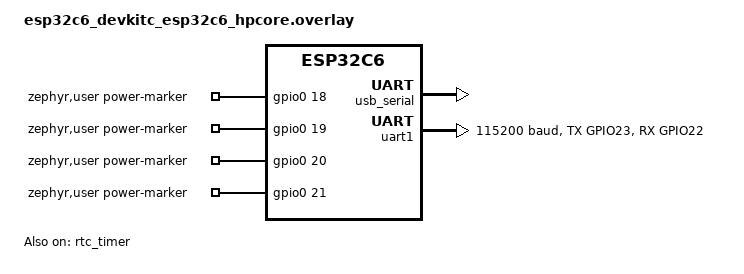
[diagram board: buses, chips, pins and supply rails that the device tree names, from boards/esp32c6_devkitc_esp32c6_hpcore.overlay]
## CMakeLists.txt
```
cmake_minimum_required(VERSION 3.20.0)

find_package(Zephyr REQUIRED HINTS $ENV{ZEPHYR_BASE})
project(zephyr_CellCom_app)

target_sources(app PRIVATE
    src/alarm.c
    src/at_parser.c
    src/bdseq_store.c
    src/client_id.c
    src/main.c
    src/modem.c
    src/mqtt_client.c
    src/power_marker.c
    src/power_mgmt.c
    src/pm_soc_log.c
    src/modbus_client.c
    src/sparkplug.c
    src/time_sync.c
    src/wake_cycle.c
    src/wifi_network.c
)

# Sparkplug B payload: generate C structs from the .proto with nanopb.
# proto/sparkplug_b.options next to it limits array/string sizes.
# The generated header is included as "proto/sparkplug_b.pb.h".
list(APPEND CMAKE_MODULE_PATH ${ZEPHYR_BASE}/modules/nanopb)
include(nanopb)
zephyr_nanopb_sources(app proto/sparkplug_b.proto)
```

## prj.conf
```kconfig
CONFIG_NETWORKING=y
CONFIG_WIFI=y
CONFIG_NET_LOG=y
CONFIG_LOG=y
CONFIG_PRINTK=y
CONFIG_ESPTOOLPY_FLASHSIZE_4MB=y

CONFIG_NET_TCP=y
CONFIG_NET_IPV4=y
CONFIG_NET_DHCPV4=y
# DHCP waits a random 1..N s before its first request (RFC 2131). With the
# default N = 10 every deep sleep wake spent 4-10 s waiting for Wi-Fi; 2 is
# the lowest Zephyr allows.
CONFIG_NET_DHCPV4_INITIAL_DELAY_MAX=2

# Sockets: Modbus TCP to the SimPLC
CONFIG_NET_SOCKETS=y
CONFIG_POLL=y

CONFIG_ENTROPY_GENERATOR=y

# Sparkplug bdSeq kept in flash across reboots (bdseq_store.c, IEC 62443
# CR 3.8). Settings stores named values; NVS is the flash backend. It uses
# the "storage" partition from the espressif-flash-4M layout.
CONFIG_FLASH=y
CONFIG_FLASH_MAP=y
CONFIG_NVS=y
CONFIG_SETTINGS=y
CONFIG_SETTINGS_NVS=y

# Unique client ID from the chip's eFuse MAC (client_id.c, CR 3.8)
CONFIG_HWINFO=y

CONFIG_MODBUS=y
CONFIG_MODBUS_ROLE_CLIENT=y
CONFIG_MODBUS_RAW_ADU=y
CONFIG_MODBUS_NUMOF_RAW_ADU=1
# Sparkplug B payloads (protobuf, via nanopb module)
CONFIG_NANOPB=y

# UDP for DHCP on the Wi-Fi to the SimPLC. UTC comes from the modem (NTP/NITZ);
# Zephyr's MQTT client, SNTP and DNS are only for the Wi-Fi uplink test build:
# -DEXTRA_CONF_FILE=wifi_uplink.conf (see that file)
CONFIG_NET_UDP=y

# SIM7080G cellular modem on UART1 (AT commands, see modem.c / at_parser.c)
CONFIG_SERIAL=y
CONFIG_UART_INTERRUPT_DRIVEN=y
CONFIG_RING_BUFFER=y

# Light sleep between work (power_mgmt.c, APP_LIGHT_SLEEP). The RTC timer
# (enabled in the board overlay) wakes the chip.
CONFIG_PM=y
CONFIG_PM_DEVICE=y
CONFIG_COUNTER=y
# Deep sleep design (APP_DEEP_SLEEP, wake_cycle.c): sys_poweroff() with a
# timer wakeup
CONFIG_POWEROFF=y

# Main thread does the sampling loop, or the deep sleep wake cycle. Modbus
# runs in the calling thread and its raw transport keeps two ~260 B frames on
# the stack (modbus_client.c raw_tx_cb): 2048 overflowed in wake_cycle_run()
# and corrupted the heap ("Illegal instruction" in sys_heap_alloc).
CONFIG_MAIN_STACK_SIZE=4096
```

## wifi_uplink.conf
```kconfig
# Test build only: MQTT over Wi-Fi with Zephyr's own client instead of the
# SIM7080G (no TLS, so it also needs -DAPP_ALLOW_INSECURE). Use with
#   west build ... -- -DEXTRA_CONF_FILE=wifi_uplink.conf
#     "-DEXTRA_CFLAGS=-DAPP_UPLINK_CELLULAR=0 -DAPP_ALLOW_INSECURE"
CONFIG_MQTT_LIB=y
# UTC over Wi-Fi (the modem does this on the cellular uplink)
CONFIG_SNTP=y
CONFIG_DNS_RESOLVER=y
```

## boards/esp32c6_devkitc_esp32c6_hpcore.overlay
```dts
#include <zephyr/dt-bindings/pinctrl/esp32c6-pinctrl.h>
#include <zephyr/dt-bindings/gpio/gpio.h>

/ {
    chosen {
        zephyr,console = &usb_serial;
        zephyr,shell-uart = &usb_serial;
    };

    /* Phase markers for PPK2 current measurements (power_marker.h).
     * Only driven when APP_POWER_MARKERS = 1. PPK2 logic port D0-D3. */
    zephyr,user {
        power-marker-gpios = <&gpio0 18 GPIO_ACTIVE_HIGH>,
                             <&gpio0 19 GPIO_ACTIVE_HIGH>,
                             <&gpio0 20 GPIO_ACTIVE_HIGH>,
                             <&gpio0 21 GPIO_ACTIVE_HIGH>;
    };
};

&usb_serial {
    status = "okay";
};

/* RTC timer wakes the chip from light sleep (power_mgmt.c) */
&rtc_timer {
    status = "okay";
    wakeup-source;
};

/* Turned off: on in the board's default devicetree, but not used by this
 * application. Their drivers are not started, which keeps boot (every deep
 * sleep wake is a boot) short and avoids powering blocks we don't need.
 *   coretemp     chip temperature sensor (was enabled here, never read)
 *   uart0        the console is on usb_serial; the modem is on uart1
 *   i2c0, spi2   no I2C/SPI devices on the Edge
 *   esp32_bt_hci, ieee802154   no Bluetooth or Thread/Zigbee radio
 *   mbox0        mailbox to the LP core, which is not used (see report)
 */
&coretemp {
    status = "disabled";
};

&uart0 {
    status = "disabled";
};

&i2c0 {
    status = "disabled";
};

&spi2 {
    status = "disabled";
};

&esp32_bt_hci {
    status = "disabled";
};

&ieee802154 {
    status = "disabled";
};

&mbox0 {
    status = "disabled";
};

/* SIM7080G (M5Stamp CatM) cellular modem: ESP TX = GPIO23, RX = GPIO22 */
&pinctrl {
    uart1_modem: uart1_modem {
        group1 {
            pinmux = <UART1_TX_GPIO23>;
            output-high;
        };
        group2 {
            pinmux = <UART1_RX_GPIO22>;
            bias-pull-up;
        };
    };
};

&uart1 {
    status = "okay";
    current-speed = <115200>;
    pinctrl-0 = <&uart1_modem>;
    pinctrl-names = "default";
};
```

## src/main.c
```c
#include <zephyr/kernel.h>
#include <zephyr/logging/log.h>

#include "app_config.h"
#include "client_id.h"
#include "wifi_network.h"
#include "mqtt_client.h"
#include "time_sync.h"
#include "modbus_client.h"
#include "power_marker.h"
#include "power_mgmt.h"
#include "wake_cycle.h"

LOG_MODULE_REGISTER(app, LOG_LEVEL_INF);

/* A Modbus reading older than this is treated as missing (2 polls + slack) */
#define PLC_MAX_AGE_MS (2 * MODBUS_POLL_INTERVAL_MS + 1000)

BUILD_ASSERT(MODBUS_NUM_SENSORS == SP_NUM_SENSORS,
	     "Modbus register map and Sparkplug metrics must have the same sensors");

#ifdef APP_FAKE_PLC_DATA
/* Test mode: made-up PLC values, so the whole chain (Sparkplug -> broker ->
 * QuestDB) can be tested without the SimPLC. Every 6th sample flags the
 * bottom sensor as failed, to exercise the null values. */
static int fake_plc_sample(struct sparkplug_sample *s)
{
	static uint32_t n;

	n++;
	for (int i = 0; i < SP_NUM_SENSORS; i++) {
		s->temperature_c[i] = 20.0f + 2.0f * i + (float)(n % 5);
		s->humidity_pct[i] = 40.0f + 5.0f * i + (float)(n % 3);
	}
	s->plc_status = (n % 6 == 0) ? 0x4 : 0;
	s->plc_ok = true;
	return 0;
}
#endif

/* Fills s from the latest SimPLC reading. Sets s->plc_ok = false (all values
 * become null in Sparkplug) when there is no fresh reading or the PLC's
 * heartbeat has stopped, i.e. its scan cycle hangs and the values are old. */
static void plc_sample(struct sparkplug_sample *s)
{
#ifdef APP_FAKE_PLC_DATA
	fake_plc_sample(s);
#else
	static uint16_t last_heartbeat;
	static bool have_last;
	struct modbus_readings r;

	s->plc_ok = false;
#if APP_WIFI_ON_DEMAND
	/* Wi-Fi only for this read: connect, read once, disconnect. The ESP
	 * can light-sleep again as soon as network_down() is called. */
	int64_t t_up = k_uptime_get();
	int rc = network_up(APP_WIFI_CONNECT_TIMEOUT_S);
	int64_t t_read = k_uptime_get();

	if (rc == 0) {
		rc = modbus_client_read_now(&r);
	}
	network_down();
	/* How long Wi-Fi was needed for this sample: decides whether on-demand
	 * Wi-Fi pays off at short sample intervals. */
	LOG_INF("Wi-Fi up in %lld ms, read %lld ms (rc %d)", (long long)(t_read - t_up),
		(long long)(k_uptime_get() - t_read), rc);
	if (rc != 0) {
		LOG_WRN("no Modbus data from SimPLC (%d)", rc);
		return;
	}
#else
	if (modbus_client_get_readings(&r) != 0) {
		LOG_WRN("no Modbus data from SimPLC");
		return;
	}
#endif
	if (k_uptime_get() - r.timestamp_ms > PLC_MAX_AGE_MS) {
		LOG_WRN("Modbus data is %lld ms old", (long long)(k_uptime_get() - r.timestamp_ms));
		return;
	}
	if (r.heartbeat == 0 || (have_last && r.heartbeat == last_heartbeat)) {
		LOG_WRN("SimPLC heartbeat not running (%u)", r.heartbeat);
		last_heartbeat = r.heartbeat;
		have_last = true;
		return;
	}
	last_heartbeat = r.heartbeat;
	have_last = true;

	for (int i = 0; i < SP_NUM_SENSORS; i++) {
		s->temperature_c[i] = r.temp_x10[i] / 10.0f;
		s->humidity_pct[i] = r.hum_x10[i] / 10.0f;
	}
	s->plc_status = r.status;
	s->plc_ok = true;
	/* Stamp with the time the PLC values were read, not when we sampled */
	s->timestamp_ms = (uint64_t)r.timestamp_ms;

	LOG_INF("PLC x10 temp %d %d %d, hum %d %d %d, status 0x%x",
		r.temp_x10[0], r.temp_x10[1], r.temp_x10[2],
		r.hum_x10[0], r.hum_x10[1], r.hum_x10[2], r.status);
#endif
}

int main(void)
{
	LOG_INF("Zephyr app started");
	LOG_INF("sample every %d s, publish every %d s, light sleep %d, Wi-Fi on demand %d, "
		"modem radio off %d", APP_SAMPLE_INTERVAL_S, APP_PUBLISH_INTERVAL_S,
		APP_LIGHT_SLEEP, APP_WIFI_ON_DEMAND, APP_MODEM_RADIO_OFF);
	power_mgmt_init();
	power_marker_init();

	/* IEC 62443 CR 3.8: without a unique ID the node must not connect, so
	 * we stop here instead of using a shared fallback ID. Light sleep is
	 * released so a broken node doesn't drain the battery while awake. */
	int ret = build_client_id_initialize();

	if (ret) {
		LOG_ERR("No unique client ID (MAC unreadable: %d), not starting", ret);
		power_boot_done();
		return ret;
	}
	LOG_INF("client id: %s", build_client_id_get());

	/* Wi-Fi: the local network to the SimPLC (Modbus TCP), and the uplink
	 * when APP_UPLINK_CELLULAR = 0. APP_DISABLE_WIFI (test only, with
	 * APP_FAKE_PLC_DATA) keeps the Wi-Fi radio off. */
#ifdef APP_DISABLE_WIFI
	LOG_WRN("APP_DISABLE_WIFI: Wi-Fi radio not started");
#else
	if (network_initialize() != 0) {
		LOG_ERR("network init failed");
	}
#endif

#if !APP_UPLINK_CELLULAR
	/* Real UTC timestamps for Sparkplug. If this fails, the MQTT thread
	 * retries before each session. With the cellular uplink the MQTT thread
	 * gets the time from the modem once the data connection is up. */
	time_sync_initialize();
#endif

	mqtt_client_initialize();

#ifdef APP_FAKE_PLC_DATA
	LOG_WRN("APP_FAKE_PLC_DATA: sending made-up PLC values, not the SimPLC's");
#else
	if (modbus_client_initialize() != 0) {
		LOG_ERR("modbus init failed");
	}
#endif

#if APP_DEEP_SLEEP
	/* Deep sleep design: the SimPLC samples, we wake up, check alarms,
	 * maybe send, and sleep again. Does not return. */
	wake_cycle_run();
#endif

	/* Application thread: sample on a fixed interval and queue the result.
	 * The MQTT thread batches and publishes, so a slow or broken network
	 * never shifts the sampling interval. */
	int64_t next = k_uptime_get();
	bool first = true;

	while (1) {
		/* Stamped with uptime (replaced by the PLC read time when there is
		 * fresh data); converted to UTC when it is sent */
		struct sparkplug_sample s = { .timestamp_ms = (uint64_t)k_uptime_get() };

		power_marker_set(PM_MARK_SAMPLE, true);
		plc_sample(&s);
		/* Queued even without PLC data: the nulls show the gap in QuestDB */
		mqtt_client_queue_sample(&s);
		power_marker_set(PM_MARK_SAMPLE, false);
		if (first) {
			/* boot done: light sleep allowed from now on */
			power_boot_done();
			first = false;
		}

		next += APP_SAMPLE_INTERVAL_S * MSEC_PER_SEC;
		k_sleep(K_TIMEOUT_ABS_MS(next));
	}

	return 0;
}
```

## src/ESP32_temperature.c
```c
#include <zephyr/kernel.h>
#include <zephyr/device.h>
#include <zephyr/drivers/sensor.h>
#include <zephyr/logging/log.h>

#include "ESP32_temperature.h"

LOG_MODULE_REGISTER(temperature, LOG_LEVEL_INF);

static const struct device *const temperature_sensor =
	DEVICE_DT_GET(DT_ALIAS(die_temp0));

int ESP32_temperature_initialize(void)
{
	if (!device_is_ready(temperature_sensor)) {
		LOG_ERR("Internal temperature sensor is not ready");
		return -ENODEV;
	}
	return 0;
}

int ESP32_temperature_read(float *celsius)
{
	struct sensor_value temperature;
	int ret;

	ret = sensor_sample_fetch(temperature_sensor);
	if (ret == 0) {
		ret = sensor_channel_get(temperature_sensor, SENSOR_CHAN_DIE_TEMP,
					 &temperature);
	}
	if (ret) {
		LOG_ERR("Failed to read internal temperature: %d", ret);
		return ret;
	}

	*celsius = (float)sensor_value_to_double(&temperature);
	return 0;
}
```

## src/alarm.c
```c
/* alarm.c - see alarm.h */
#include "alarm.h"
#include "app_config.h"
#include "modbus_settings.h"

#include <stdbool.h>

/* Hysteresis: once on, an alarm needs the value back inside the limit by
 * `hyst` before it turns off. */
static bool temp_alarm(int16_t t, bool was_on)
{
	if (was_on) {
		return t > APP_ALARM_TEMP_HIGH_X10 - APP_ALARM_TEMP_HYST_X10 ||
		       t < APP_ALARM_TEMP_LOW_X10 + APP_ALARM_TEMP_HYST_X10;
	}
	return t > APP_ALARM_TEMP_HIGH_X10 || t < APP_ALARM_TEMP_LOW_X10;
}

static bool hum_alarm(int16_t h, bool was_on)
{
	if (was_on) {
		return h > APP_ALARM_HUM_HIGH_X10 - APP_ALARM_HUM_HYST_X10;
	}
	return h >= APP_ALARM_HUM_HIGH_X10;
}

uint16_t alarm_evaluate(const struct modbus_readings *r, uint16_t current)
{
	uint16_t out = current;

	for (int i = 0; i < MODBUS_NUM_SENSORS; i++) {
		if (r->status & (1U << i)) {
			continue; /* read error: keep the state, the value is stale */
		}
		uint16_t tbit = 1U << (MODBUS_COIL_TEMP_BASE + i);
		uint16_t hbit = 1U << (MODBUS_COIL_HUM_BASE + i);

		out = temp_alarm(r->temp_x10[i], current & tbit) ? (out | tbit) : (out & ~tbit);
		out = hum_alarm(r->hum_x10[i], current & hbit) ? (out | hbit) : (out & ~hbit);
	}
	return out;
}
```

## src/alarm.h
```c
/* alarm.h - alarm decisions for the SimPLC's coils.
 *
 * The Edge decides, the SimPLC acts: the result is a bitmask of the SimPLC's
 * coils (MODBUS_COIL_TEMP_BASE + i, MODBUS_COIL_HUM_BASE + i), which drive
 * its buzzer and lamp. Limits and hysteresis are in app_config.h.
 */
#pragma once

#include <stdint.h>
#include "modbus_client.h"

/* New coil mask from a reading and the current coils (needed for the
 * hysteresis). A sensor with a read error (status bit set) keeps its
 * current alarm state: an old value must neither raise nor clear an alarm. */
uint16_t alarm_evaluate(const struct modbus_readings *r, uint16_t current);
```

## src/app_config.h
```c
/* app_config.h - tunables for sampling, batching and Sparkplug naming.
 *
 * Everything that changes the data/power trade-off lives here, so it can be
 * tuned in one place (and argued for in the report).
 */
#pragma once

/* Sparkplug B group id: first level after "spBv1.0/" in every topic.
 * Keep it short - it is sent in every single topic string. */
#ifndef SPARKPLUG_GROUP_ID
#define SPARKPLUG_GROUP_ID "GRP1"
#endif

/* How often the sensor is read (kravspec Projekt A: 5-15 s). Can be set at
 * build time, e.g. -DAPP_SAMPLE_INTERVAL_S=600 for one sample per 10 min. */
#ifndef APP_SAMPLE_INTERVAL_S
#define APP_SAMPLE_INTERVAL_S   10
#endif

/* How often the node connects and sends everything it has collected
 * (option A: connect -> NBIRTH -> NDATA... -> NDEATH -> disconnect).
 * 3600 = hourly. Use something like 60 while developing. */
#ifndef APP_PUBLISH_INTERVAL_S
#define APP_PUBLISH_INTERVAL_S  3600
#endif

/* After a failed session (no network, broker down) try again this soon. */
#ifndef APP_RETRY_INTERVAL_S
#define APP_RETRY_INTERVAL_S    300
#endif

/* Samples per NDATA message follow from the metric limit and the uplink's
 * message size (see SPARKPLUG_MAX_SAMPLES_PER_NDATA and mqtt_client.c).
 * One hour at 10 s = 360 samples of 7 metrics each: over cellular that is
 * ~52 messages of ~0.9 kB per session. */

/* Samples kept in RAM (40 B each, ~29 kB for 720). Two publish intervals, so
 * one failed session loses nothing. When full, the oldest sample is dropped. */
#define APP_SAMPLE_QUEUE_LEN    (2 * APP_PUBLISH_INTERVAL_S / APP_SAMPLE_INTERVAL_S)

/* Uplink to the broker: 1 = SIM7080G cellular modem (LTE-M) on UART1,
 * 0 = Wi-Fi with Zephyr's own MQTT client. Wi-Fi is started either way,
 * because Modbus TCP to the SimPLC runs over the local Wi-Fi.
 * Override with -DEXTRA_CFLAGS="-DAPP_UPLINK_CELLULAR=0 -DAPP_ALLOW_INSECURE"
 * (test only: the Wi-Fi uplink has no TLS). */
#ifndef APP_UPLINK_CELLULAR
#define APP_UPLINK_CELLULAR     1
#endif
#define APP_MODEM_APN           "onomondo"
/* How long to wait for LTE registration in a session before giving up. */
#define APP_MODEM_ATTACH_MS     120000

/* MQTT over TLS (issue #22). Cellular uplink only: TLS runs inside the
 * modem. The broker's TLS listener is on APP_MQTT_TLS_PORT; the CA its
 * certificate is checked against lives in mqtt_ca_cert.h.
 * Override with -DEXTRA_CFLAGS="-DAPP_MQTT_TLS=0 -DAPP_ALLOW_INSECURE" for
 * plain MQTT on 1883 (test only). */
#ifndef APP_MQTT_TLS
#define APP_MQTT_TLS            1
#endif
#define APP_MQTT_TLS_PORT       8883

/* IEC 62443 CR 3.1/3.8: never send without a verified server. Plain MQTT
 * (APP_MQTT_TLS = 0) and the Wi-Fi uplink (no TLS at all) are test builds
 * only, so they must be asked for on purpose with -DAPP_ALLOW_INSECURE.
 * Without the CA in mqtt_ca_cert.h the modem refuses to connect
 * (modem.c, tls_configure()). */
#if (!APP_MQTT_TLS || !APP_UPLINK_CELLULAR) && !defined(APP_ALLOW_INSECURE)
#error "Uplink without verified TLS: build with -DAPP_ALLOW_INSECURE (test only)"
#endif

/* ---- Alarms (alarm.c) ----
 * Evaluated by the Edge on every SimPLC reading; the result is written to
 * the SimPLC's coils (buzzer/lamp there). No limits in the kravspec: these
 * were chosen by the group. Values x10, like the Modbus registers. An alarm
 * turns off again only HYST below/above the limit, so a value right at the
 * limit doesn't make it flicker (the DHT11 only reads whole degrees/%).
 * The SimPLC has one temperature coil per position: it means "temperature
 * out of range" (too hot or too cold). */
#ifndef APP_ALARM_TEMP_HIGH_X10
#define APP_ALARM_TEMP_HIGH_X10   400   /* alarm above 40.0 C */
#endif
#ifndef APP_ALARM_TEMP_LOW_X10
#define APP_ALARM_TEMP_LOW_X10    100   /* alarm below 10.0 C */
#endif
#ifndef APP_ALARM_TEMP_HYST_X10
#define APP_ALARM_TEMP_HYST_X10   10    /* 1.0 C */
#endif
#ifndef APP_ALARM_HUM_HIGH_X10
#define APP_ALARM_HUM_HIGH_X10    800   /* alarm at 80.0 % or more */
#endif
#ifndef APP_ALARM_HUM_HYST_X10
#define APP_ALARM_HUM_HYST_X10    30    /* 3.0 % */
#endif

/* ---- Deep sleep design (wake_cycle.c, PO feedback) ----
 * 1 = the SimPLC samples every 10 s into its buffer; the Edge is in deep
 * sleep and wakes every APP_ALARM_CHECK_S to check alarms. It sends (modem)
 * when the oldest unsent sample is APP_SEND_AGE_S old, or at once when an
 * alarm changes. 0 = the light sleep design (Edge samples every 10 s).
 * Default 1: the final design, alarm check every 5 min and one send an hour.
 * Measured with PPK2 (test 5/6): about 12 mA on average, see RESULTS.md. */
#ifndef APP_DEEP_SLEEP
#define APP_DEEP_SLEEP            1
#endif
#ifndef APP_ALARM_CHECK_S
#define APP_ALARM_CHECK_S         300
#endif
#ifndef APP_SEND_AGE_S
#define APP_SEND_AGE_S            (3600 - APP_ALARM_CHECK_S)
#endif

/* ---- Power saving (see IoTEdge/tests/power/results/RESULTS.md) ---- */

/* 1 = light sleep between work (CONFIG_PM). Measured: ESP idle 49 mA vs
 * light sleep 17.8 mA (modem on) / 7.7 mA (modem radio off), whole system.
 * The USB console stops after the first light sleep: use 0 to debug. */
#ifndef APP_LIGHT_SLEEP
#define APP_LIGHT_SLEEP         (!APP_DEEP_SLEEP) /* deep sleep: awake only briefly */
#endif

/* 1 = turn the modem's radio off (AT+CFUN=0) between sessions and back on
 * at the start of the next one. Saves ~8-10 mA for ~0.4 C per re-attach. */
#ifndef APP_MODEM_RADIO_OFF
#define APP_MODEM_RADIO_OFF     1
#endif

/* 1 = Wi-Fi only on for each sample (connect, read the SimPLC, disconnect),
 * so the ESP can sleep in between. 0 = Wi-Fi stays connected (no light
 * sleep while it is up). Default: on demand when samples are >= 60 s apart;
 * re-connecting every 10 s is unmeasured and phone hotspots dislike it. */
#ifndef APP_WIFI_ON_DEMAND
#define APP_WIFI_ON_DEMAND      (APP_DEEP_SLEEP || APP_SAMPLE_INTERVAL_S >= 60)
#endif
/* Max time for one on-demand Wi-Fi connect + DHCP before the sample is
 * given up (sent as null). */
#define APP_WIFI_CONNECT_TIMEOUT_S 20

/* ---- Power measurement switches (PPK2 tests, see IoTEdge/tests/power) ---- */

/* 1 = drive phase markers on GPIO18-21 for the PPK2 logic port. */
#ifndef APP_POWER_MARKERS
#define APP_POWER_MARKERS       0
#endif

/* 1 = "no power saving": connect once and stay connected, publish every
 * sample right away as its own NDATA (no batching, no disconnect).
 * Cellular uplink only. 0 = option A sessions (the normal design). */
#ifndef APP_PERSISTENT_SESSION
#define APP_PERSISTENT_SESSION  0
#endif

/* SNTP: real UTC time for Sparkplug timestamps. Re-synced before a session
 * when the last sync is older than this, to correct clock drift. */
#define APP_SNTP_SERVER         "pool.ntp.org"
#define APP_SNTP_RESYNC_S       (24 * 3600)
```

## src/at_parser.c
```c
#include "at_parser.h"

#include <errno.h>
#include <string.h>
#include <zephyr/drivers/uart.h>
#include <zephyr/logging/log.h>
#include <zephyr/sys/atomic.h>
#include <zephyr/sys/ring_buffer.h>

LOG_MODULE_REGISTER(at_parser, LOG_LEVEL_INF);

struct urc_entry {
	const char *prefix;
	at_urc_cb_t cb;
	void *user;
	uint32_t flags;
};

/* Tilstand for den kommando der venter på svar. Beskyttes af st_mtx. */
struct at_state {
	bool pending;
	const char *cmd;      /* bruges til ekko-skip og til at genkende svarlinjer */
	const char *expect;   /* ekstra påkrævet linje-præfiks (kan være NULL) */
	bool prompt;          /* vent på '>' i stedet for OK */
	bool got_ok;
	bool got_expect;
	int result;
	char *resp;
	size_t resp_len;
	size_t resp_pos;
};

static const struct device *uart_dev;
static bool initialized;

static uint8_t rx_storage[AT_RX_RING_SIZE];
static struct ring_buf rx_rb;
static atomic_t rx_dropped;

static K_SEM_DEFINE(rx_sem, 0, 1);
static K_SEM_DEFINE(done_sem, 0, 1);
static K_MUTEX_DEFINE(cmd_mtx);   /* én kommando ad gangen */
static K_MUTEX_DEFINE(st_mtx);    /* beskytter st */

static K_THREAD_STACK_DEFINE(rx_stack, AT_RX_STACK_SIZE);
static struct k_thread rx_thread;

static struct urc_entry urcs[AT_MAX_URC];
static size_t n_urc;
static struct at_state st;

/* Last error line from the modem ("+CME ERROR: ..." with AT+CMEE=2), so a
 * failed command is logged with the reason, even when the caller passed no
 * response buffer. Protected by st_mtx. */
static char last_err[64];

/* ------------------------------------------------------------------ */
/* Hjælpere (kaldes med st_mtx låst)                                   */
/* ------------------------------------------------------------------ */

static void complete(int result)
{
	st.pending = false;
	st.result = result;
	k_sem_give(&done_sem);
}

static void check_done(void)
{
	if (st.got_ok && (st.expect == NULL || st.got_expect)) {
		complete(0);
	}
}

static void resp_append(const char *line)
{
	if (!st.resp || st.resp_len == 0) {
		return;
	}
	size_t n = strlen(line);

	if (st.resp_pos + n + 2 > st.resp_len) {
		LOG_WRN("resp-buffer fuld, linje droppet");
		return;
	}
	memcpy(&st.resp[st.resp_pos], line, n);
	st.resp_pos += n;
	st.resp[st.resp_pos++] = '\n';
	st.resp[st.resp_pos] = '\0';
}

static bool starts_with(const char *s, const char *prefix)
{
	return strncmp(s, prefix, strlen(prefix)) == 0;
}

static bool is_error(const char *line)
{
	return strcmp(line, "ERROR") == 0 || starts_with(line, "+CME ERROR") ||
	       starts_with(line, "+CMS ERROR");
}

/* "+CEREG: 0,5" er et svar på "AT+CEREG?" - navnet før ':' findes i kommandoen. */
static bool cmd_owns_line(const char *line)
{
	const char *colon = strchr(line, ':');

	if (!st.cmd || line[0] != '+' || !colon) {
		return false;
	}
	char name[24];
	size_t n = (size_t)(colon - line);

	if (n >= sizeof(name)) {
		return false;
	}
	memcpy(name, line, n);
	name[n] = '\0';
	return strstr(st.cmd, name) != NULL;
}

/* ------------------------------------------------------------------ */
/* Linjebehandling (kører i RX-tråden)                                 */
/* ------------------------------------------------------------------ */

static void process_line(const char *line)
{
	at_urc_cb_t cb = NULL;
	void *user = NULL;

	k_mutex_lock(&st_mtx, K_FOREVER);

	if (st.pending) {
		/* 1. ekko af vores egen kommando */
		if (st.cmd && strcmp(line, st.cmd) == 0) {
			goto out;
		}
		/* 2. ventet linje (fx "+APP PDP: 0,ACTIVE") - går forud for URC-dispatch */
		if (st.expect && starts_with(line, st.expect)) {
			resp_append(line);
			st.got_expect = true;
			if (st.got_ok) {
				check_done();
			}
			goto out;
		}
		/* Fil-upload (AT+CFSWFILE) beder om data med linjen "DOWNLOAD" i stedet for ">" */
		if (st.prompt && strcmp(line, "DOWNLOAD") == 0) {
			complete(0);
			goto out;
		}
		/* 3. slutkoder */
		if (strcmp(line, "OK") == 0) {
			st.got_ok = true;
			check_done();
			goto out;
		}
		if (is_error(line)) {
			resp_append(line);
			strncpy(last_err, line, sizeof(last_err) - 1);
			last_err[sizeof(last_err) - 1] = '\0';
			complete(-EIO);
			goto out;
		}
	}

	/* 4. URC? */
	for (size_t i = 0; i < n_urc; i++) {
		if (!starts_with(line, urcs[i].prefix)) {
			continue;
		}
		if (st.pending && !(urcs[i].flags & AT_URC_ALWAYS) && cmd_owns_line(line)) {
			break; /* svar på den aktuelle kommando, ikke URC */
		}
		cb = urcs[i].cb;
		user = urcs[i].user;
		goto out;
	}

	/* 5. alt andet under en kommando er svar (fx ATI / AT+CGMR har ingen præfiks) */
	if (st.pending) {
		resp_append(line);
	} else {
		LOG_DBG("ukendt linje: %s", line);
	}

out:
	k_mutex_unlock(&st_mtx);
	if (cb) {
		cb(line, user);
	}
}

static char line_buf[AT_LINE_MAX];
static size_t line_len;
static bool line_overflow;

static void feed(uint8_t c)
{
	if (c == '\r' || c == '\n') {
		if (line_overflow) {
			LOG_WRN("linje > %d bytes droppet", AT_LINE_MAX - 1);
		} else if (line_len > 0) {
			line_buf[line_len] = '\0';
			process_line(line_buf);
		}
		line_len = 0;
		line_overflow = false;
		return;
	}
	if (line_len == 0 && c == ' ') {
		return; /* spring ledende mellemrum over (fx "> ") */
	}
	if (line_len >= AT_LINE_MAX - 1) {
		line_overflow = true;
		return;
	}
	line_buf[line_len++] = (char)c;

	/* Prompt ">" kommer uden linjeskift */
	if (line_len == 1 && c == '>') {
		bool consumed = false;

		k_mutex_lock(&st_mtx, K_FOREVER);
		if (st.pending && st.prompt) {
			complete(0);
			consumed = true;
		}
		k_mutex_unlock(&st_mtx);
		if (consumed) {
			line_len = 0;
		}
	}
}

static void rx_entry(void *a, void *b, void *c)
{
	ARG_UNUSED(a);
	ARG_UNUSED(b);
	ARG_UNUSED(c);

	for (;;) {
		k_sem_take(&rx_sem, K_FOREVER);
		uint8_t ch;

		while (ring_buf_get(&rx_rb, &ch, 1) == 1) {
			feed(ch);
		}
	}
}

static void uart_isr(const struct device *dev, void *user_data)
{
	ARG_UNUSED(user_data);

	while (uart_irq_update(dev) && uart_irq_is_pending(dev)) {
		if (!uart_irq_rx_ready(dev)) {
			break;
		}
		uint8_t buf[32];
		int n;

		while ((n = uart_fifo_read(dev, buf, sizeof(buf))) > 0) {
			uint32_t put = ring_buf_put(&rx_rb, buf, (uint32_t)n);

			if (put < (uint32_t)n) {
				atomic_add(&rx_dropped, (atomic_val_t)(n - put));
			}
		}
		k_sem_give(&rx_sem);
	}
}

/* ------------------------------------------------------------------ */
/* TX og kommando-flow                                                 */
/* ------------------------------------------------------------------ */

static void tx(const void *data, size_t len)
{
	const uint8_t *p = data;

	for (size_t i = 0; i < len; i++) {
		uart_poll_out(uart_dev, p[i]);
	}
}

static void arm(const char *cmd, const char *expect, bool prompt, char *resp, size_t resp_len)
{
	k_mutex_lock(&st_mtx, K_FOREVER);
	memset(&st, 0, sizeof(st));
	st.pending = true;
	st.cmd = cmd;
	st.expect = expect;
	st.prompt = prompt;
	st.resp = resp;
	st.resp_len = resp_len;
	if (resp && resp_len) {
		resp[0] = '\0';
	}
	k_sem_reset(&done_sem);
	k_mutex_unlock(&st_mtx);
}

static int wait_done(k_timeout_t timeout)
{
	int ret;

	if (k_sem_take(&done_sem, timeout) != 0) {
		k_mutex_lock(&st_mtx, K_FOREVER);
		if (st.pending) {
			st.pending = false;
			ret = -ETIMEDOUT;
		} else {
			ret = st.result; /* blev færdig lige ved timeout */
		}
		k_mutex_unlock(&st_mtx);
		return ret;
	}
	k_mutex_lock(&st_mtx, K_FOREVER);
	ret = st.result;
	k_mutex_unlock(&st_mtx);
	return ret;
}

static void send_line(const char *cmd)
{
	tx(cmd, strlen(cmd));
	tx("\r", 1);
}

static int run(const char *cmd, const char *expect, char *resp, size_t resp_len,
	       k_timeout_t timeout)
{
	if (!initialized) {
		return -EBUSY;
	}
	if (!cmd || (resp == NULL) != (resp_len == 0)) {
		return -EINVAL;
	}
	k_mutex_lock(&cmd_mtx, K_FOREVER);
	arm(cmd, expect, false, resp, resp_len);
	LOG_DBG("> %s", cmd);
	send_line(cmd);
	int ret = wait_done(timeout);

	if (ret == -EIO) {
		LOG_WRN("'%s' -> %s", cmd, last_err);
	} else if (ret) {
		LOG_WRN("'%s' -> %d", cmd, ret);
	}
	k_mutex_unlock(&cmd_mtx);
	return ret;
}

/* ------------------------------------------------------------------ */
/* API                                                                 */
/* ------------------------------------------------------------------ */

int at_init(const struct device *uart)
{
	if (initialized) {
		return -EALREADY;
	}
	if (!uart || !device_is_ready(uart)) {
		return -ENODEV;
	}
	uart_dev = uart;
	ring_buf_init(&rx_rb, sizeof(rx_storage), rx_storage);

	int ret = uart_irq_callback_user_data_set(uart_dev, uart_isr, NULL);

	if (ret < 0) {
		LOG_ERR("UART IRQ API ikke understoettet (%d) - tjek CONFIG_UART_INTERRUPT_DRIVEN",
			ret);
		return ret;
	}
	uart_irq_rx_enable(uart_dev);

	k_thread_create(&rx_thread, rx_stack, K_THREAD_STACK_SIZEOF(rx_stack), rx_entry, NULL,
			NULL, NULL, K_PRIO_PREEMPT(5), 0, K_NO_WAIT);
	k_thread_name_set(&rx_thread, "at_rx");

	initialized = true;
	return 0;
}

int at_register_urc(const char *prefix, at_urc_cb_t cb, void *user, uint32_t flags)
{
	if (!prefix || !cb) {
		return -EINVAL;
	}
	if (n_urc >= AT_MAX_URC) {
		return -ENOSPC;
	}
	k_mutex_lock(&st_mtx, K_FOREVER);
	urcs[n_urc] = (struct urc_entry){ prefix, cb, user, flags };
	n_urc++;
	k_mutex_unlock(&st_mtx);
	return 0;
}

int at_send(const char *cmd, char *resp, size_t resp_len, k_timeout_t timeout)
{
	return run(cmd, NULL, resp, resp_len, timeout);
}

int at_send_expect(const char *cmd, const char *expect, char *resp, size_t resp_len,
		   k_timeout_t timeout)
{
	if (!expect) {
		return -EINVAL;
	}
	return run(cmd, expect, resp, resp_len, timeout);
}

int at_send_data(const char *cmd, const void *data, size_t len, k_timeout_t timeout)
{
	if (!initialized) {
		return -EBUSY;
	}
	if (!cmd || !data || len == 0) {
		return -EINVAL;
	}
	k_mutex_lock(&cmd_mtx, K_FOREVER);

	/* fase 1: kommando -> ">" */
	arm(cmd, NULL, true, NULL, 0);
	send_line(cmd);
	int ret = wait_done(timeout);

	if (ret == 0) {
		/* fase 2: data -> OK. Arm FØR data sendes, så OK ikke overses. */
		arm(cmd, NULL, false, NULL, 0);
		/* Modemet skriver "> " og skal derefter skifte til datatilstand. Sendes data
		 * i samme øjeblik som '>' ses, kan de første bytes gå tabt (set med TLS på
		 * SIM7080: tabte/ødelagte beskeder og "malformed packet" på brokeren). */
		k_msleep(AT_PROMPT_DELAY_MS);
		tx(data, len);
		ret = wait_done(timeout);
	}
	if (ret) {
		if (ret == -EIO) {
			LOG_WRN("'%s' (%u bytes) -> %s", cmd, (unsigned int)len, last_err);
		} else {
			LOG_WRN("'%s' (%u bytes) -> %d", cmd, (unsigned int)len, ret);
		}
	}
	k_mutex_unlock(&cmd_mtx);
	return ret;
}

uint32_t at_rx_dropped(void)
{
	return (uint32_t)atomic_get(&rx_dropped);
}
```

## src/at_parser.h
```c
/*
 * at_parser.h - generisk AT-kommandolag oven på en Zephyr UART (interrupt-drevet)
 *
 * Kender intet til SIMCom. Ansvar:
 *  - RX via UART IRQ -> ring buffer -> RX-tråd der samler linjer
 *  - én kommando ad gangen: send, saml svarlinjer, vent på OK / ERROR / +CME ERROR / timeout
 *  - URC-dispatch på prefix (uopfordrede linjer, fx "+APP PDP: 0,DEACTIVE")
 *  - prompt-kommandoer ("AT+SMPUB=..." -> ">" -> rå data -> OK)
 *
 * URC-callbacks kaldes fra RX-tråden: hold dem korte og kald ALDRIG at_send*() herfra.
 */
#ifndef AT_PARSER_H_
#define AT_PARSER_H_

#include <stddef.h>
#include <stdint.h>
#include <zephyr/kernel.h>
#include <zephyr/device.h>

#ifdef __cplusplus
extern "C" {
#endif

#ifndef AT_LINE_MAX
#define AT_LINE_MAX 1152      /* længste linje der kan modtages (inkl. +SMSUB payload) */
#endif
#ifndef AT_RX_RING_SIZE
#define AT_RX_RING_SIZE 2048  /* ISR -> tråd */
#endif
#ifndef AT_RX_STACK_SIZE
#define AT_RX_STACK_SIZE 3072
#endif
#ifndef AT_MAX_URC
#define AT_MAX_URC 16
#endif
#ifndef AT_PROMPT_DELAY_MS
#define AT_PROMPT_DELAY_MS 20 /* pause mellem ">" og data i at_send_data() */
#endif

/* URC-flag: linjen er ALTID et URC, også selvom den aktuelle kommando har samme præfiks
 * (fx "+SMSUB:" som kan komme midt i svaret på AT+SMSUB=...). */
#define AT_URC_ALWAYS BIT(0)

typedef void (*at_urc_cb_t)(const char *line, void *user);

/** Start RX (IRQ + tråd). Kræver CONFIG_UART_INTERRUPT_DRIVEN. */
int at_init(const struct device *uart);

/** Registrér callback for linjer der starter med prefix (fx "+CEREG:"). prefix skal leve evigt. */
int at_register_urc(const char *prefix, at_urc_cb_t cb, void *user, uint32_t flags);

/**
 * Send cmd (uden \r), vent på OK.
 * Returnerer 0 ved OK, -EIO ved ERROR/+CME ERROR (fejllinjen står i resp),
 * -ETIMEDOUT ved timeout, -EBUSY hvis parseren ikke er klar, -EINVAL ved ugyldige argumenter.
 * resp (valgfri) får alle svarlinjer mellem kommando og OK, adskilt af '\n'.
 */
int at_send(const char *cmd, char *resp, size_t resp_len, k_timeout_t timeout);

/**
 * Som at_send, men lykkes først når OK er set OG en linje der starter med `expect` er set
 * (til kommandoer hvor resultatet kommer som URC efter OK, fx "+APP PDP: 0,ACTIVE").
 */
int at_send_expect(const char *cmd, const char *expect, char *resp, size_t resp_len,
		   k_timeout_t timeout);

/**
 * Prompt-kommando: send cmd, vent på ">" (eller linjen "DOWNLOAD", som AT+CFSWFILE bruger),
 * send `data` (len bytes, binærsikkert), vent på OK.
 * timeout gælder for hver af de to faser.
 */
int at_send_data(const char *cmd, const void *data, size_t len, k_timeout_t timeout);

/** Antal bytes tabt pga. fuld RX-ring siden start (diagnostik). */
uint32_t at_rx_dropped(void);

#ifdef __cplusplus
}
#endif

#endif /* AT_PARSER_H_ */
```

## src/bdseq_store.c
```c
/* bdseq_store.c - see bdseq_store.h.
 *
 * Zephyr's settings subsystem stores values under a name ("sp/bdseq").
 * settings_load_subtree("sp") reads everything under "sp/" and calls the
 * handler's set() for each value found. With CONFIG_SETTINGS_NVS the values
 * end up in NVS, which writes new entries one after another and only erases
 * a flash sector when it is full, so the wear is spread out. One write per
 * session (once an hour) is far below what the flash can take.
 */
#include "bdseq_store.h"

#include <errno.h>
#include <zephyr/kernel.h>
#include <zephyr/logging/log.h>
#include <zephyr/settings/settings.h>

LOG_MODULE_REGISTER(bdseq_store, LOG_LEVEL_INF);

#define SUBTREE "sp"
#define KEY     "bdseq"

static uint8_t loaded_value;
static bool loaded;

/* Called by settings_load_subtree() for every value under "sp/" */
static int sp_set(const char *name, size_t len, settings_read_cb read_cb, void *cb_arg)
{
	const char *next;

	if (!settings_name_steq(name, KEY, &next) || next) {
		return -ENOENT;
	}
	if (len != sizeof(loaded_value)) {
		return -EINVAL;
	}
	ssize_t n = read_cb(cb_arg, &loaded_value, sizeof(loaded_value));

	if (n < 0) {
		return (int)n;
	}
	loaded = (n == sizeof(loaded_value));
	return 0;
}

SETTINGS_STATIC_HANDLER_DEFINE(sp, SUBTREE, NULL, sp_set, NULL, NULL);

int bdseq_store_load(uint8_t *out)
{
	int ret = settings_subsys_init();

	if (ret) {
		return ret;
	}
	loaded = false;
	ret = settings_load_subtree(SUBTREE);
	if (ret) {
		return ret;
	}
	if (!loaded) {
		return -ENOENT;
	}
	*out = loaded_value;
	return 0;
}

int bdseq_store_save(uint8_t bd_seq)
{
	return settings_save_one(SUBTREE "/" KEY, &bd_seq, sizeof(bd_seq));
}
```

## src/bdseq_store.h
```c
/* bdseq_store.h - keeps the Sparkplug bdSeq in flash across reboots.
 *
 * IEC 62443-4-2 CR 3.8 (session integrity): every MQTT session must get a
 * new bdSeq, also after a reboot or deep sleep (both clear RAM). Otherwise
 * the host can't tell a new session from an old one replayed.
 *
 * Stored with Zephyr's settings subsystem on NVS in the "storage" flash
 * partition (see prj.conf).
 */
#pragma once

#include <stdint.h>

/* Reads the last saved bdSeq into *out. Returns 0, -ENOENT if nothing has
 * been saved yet (new device), or another negative errno. */
int bdseq_store_load(uint8_t *out);

/* Saves bdSeq. Returns 0 or a negative errno. */
int bdseq_store_save(uint8_t bd_seq);
```

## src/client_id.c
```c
/* client_id.c - unique MQTT client ID / Sparkplug edge node ID per device.
 *
 * IEC 62443 CR 3.8 (unique session identifiers): two devices with the same
 * client ID would kick each other off the broker and mix their data. The ID
 * is the chip's base MAC address, read with Zephyr's hwinfo API straight
 * from eFuse (one-time programmed at the factory). Unlike the MAC of the
 * Wi-Fi interface it doesn't depend on the network stack being up. On the
 * ESP32-C6 the Wi-Fi station MAC is the base MAC, so the ID is unchanged.
 *
 * There is no fallback ID: if the MAC can't be read, the caller must not
 * start MQTT.
 */
#include "client_id.h"

#include <errno.h>
#include <zephyr/drivers/hwinfo.h>
#include <zephyr/kernel.h>

static char client_id[32];

int build_client_id_initialize(void)
{
	uint8_t mac[6];
	ssize_t n = hwinfo_get_device_id(mac, sizeof(mac));

	client_id[0] = '\0';
	if (n < 0) {
		return (int)n;
	}
	if (n != sizeof(mac)) {
		return -EIO;
	}

	/* All 0x00 or all 0xFF means unprogrammed eFuse, not a real MAC */
	bool all_zero = true;
	bool all_ff = true;

	for (size_t i = 0; i < sizeof(mac); i++) {
		all_zero &= (mac[i] == 0x00);
		all_ff &= (mac[i] == 0xFF);
	}
	if (all_zero || all_ff) {
		return -ENODATA;
	}

	snprintk(client_id, sizeof(client_id),
		 "device-%02x%02x%02x%02x%02x%02x",
		 mac[0], mac[1], mac[2], mac[3], mac[4], mac[5]);
	return 0;
}

const char *build_client_id_get(void)
{
	return client_id;
}
```

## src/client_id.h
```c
#pragma once

/* Builds "device-<mac>" from the chip's eFuse MAC. Returns 0, or a negative
 * errno if no valid MAC could be read: then MQTT must not be started. */
int build_client_id_initialize(void);

/* The ID, or "" if build_client_id_initialize() failed. */
const char *build_client_id_get(void);
```

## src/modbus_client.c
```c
/* Modbus TCP master: Zephyr raw-ADU client + our own TCP transport */
#include "modbus_client.h"
#include "modbus_settings.h"
#include "power_marker.h"
#include "app_config.h"

#include <errno.h>
#include <string.h>
#include <zephyr/kernel.h>
#include <zephyr/logging/log.h>
#include <zephyr/modbus/modbus.h>
#include <zephyr/net/socket.h>
#include <zephyr/sys/byteorder.h>

LOG_MODULE_REGISTER(modbus_edge, LOG_LEVEL_INF);

#define ADU_DATA_MAX     (CONFIG_MODBUS_BUFFER_SIZE - 4)
#define POLL_STACK_SIZE  4096
#define IO_TIMEOUT_MS    1000

static int iface = -1;
static int sock = -1;

static K_MUTEX_DEFINE(txn_lock);    /* one transaction at a time, owns sock */
static K_MUTEX_DEFINE(data_lock);   /* protects latest */
static struct modbus_readings latest;
static bool latest_valid;

#if !APP_WIFI_ON_DEMAND
static K_THREAD_STACK_DEFINE(poll_stack, POLL_STACK_SIZE);
static struct k_thread poll_thread_data;
#endif

static void sock_close(void)
{
	if (sock >= 0) {
		zsock_close(sock);
		sock = -1;
	}
}

static int sock_open(void)
{
	struct sockaddr_in addr = {
		.sin_family = AF_INET,
		.sin_port = htons(MODBUS_SERVER_PORT),
	};
	int fd;

	if (zsock_inet_pton(AF_INET, MODBUS_SERVER_IP, &addr.sin_addr) != 1) {
		LOG_ERR("Invalid Modbus server IP");
		return -EINVAL;
	}

	fd = zsock_socket(AF_INET, SOCK_STREAM, IPPROTO_TCP);
	if (fd < 0) {
		return -errno;
	}

	if (zsock_connect(fd, (struct sockaddr *)&addr, sizeof(addr)) < 0) {
		int err = -errno;

		zsock_close(fd);
		LOG_WRN("Modbus TCP connect failed: %d", err);
		return err;
	}

	sock = fd;
	LOG_INF("Modbus TCP connected");
	return 0;
}

static int send_all(int fd, const uint8_t *buf, size_t len)
{
	size_t sent = 0;

	while (sent < len) {
		ssize_t n = zsock_send(fd, buf + sent, len - sent, 0);

		if (n < 0) {
			return -errno;
		}
		sent += n;
	}
	return 0;
}

static int recv_exact(int fd, uint8_t *buf, size_t len, int timeout_ms)
{
	int64_t deadline = k_uptime_get() + timeout_ms;
	size_t got = 0;

	while (got < len) {
		int64_t left = deadline - k_uptime_get();
		struct zsock_pollfd p = { .fd = fd, .events = ZSOCK_POLLIN };
		ssize_t n;
		int rc;

		if (left <= 0) {
			return -ETIMEDOUT;
		}
		rc = zsock_poll(&p, 1, (int)left);
		if (rc < 0) {
			return -errno;
		}
		if (rc == 0) {
			return -ETIMEDOUT;
		}
		n = zsock_recv(fd, buf + got, len - got, 0);
		if (n < 0) {
			return -errno;
		}
		if (n == 0) {
			return -ECONNRESET;
		}
		got += n;
	}
	return 0;
}

/* Called by Zephyr's client in the caller's thread with the request ADU.
 * We send it, read and validate the reply, and hand it back with
 * modbus_raw_submit_rx(). The return value is ignored by Zephyr; if we
 * submit nothing, the client times out.
 */
static int raw_tx_cb(const int idx, const struct modbus_adu *adu, void *user_data)
{
	uint8_t frame[MODBUS_MBAP_AND_FC_LENGTH + ADU_DATA_MAX];
	uint8_t hdr[MODBUS_MBAP_AND_FC_LENGTH];
	struct modbus_adu rx = {0};
	uint16_t mbap_len;
	int rc;

	ARG_UNUSED(user_data);

	if (sock < 0) {
		return -ENOTCONN;
	}
	if (adu->length > ADU_DATA_MAX) {
		return -EMSGSIZE;
	}

	modbus_raw_put_header(adu, frame);
	memcpy(&frame[MODBUS_MBAP_AND_FC_LENGTH], adu->data, adu->length);

	rc = send_all(sock, frame, MODBUS_MBAP_AND_FC_LENGTH + adu->length);
	if (rc) {
		goto fail;
	}

	rc = recv_exact(sock, hdr, sizeof(hdr), IO_TIMEOUT_MS);
	if (rc) {
		goto fail;
	}

	/* Input validation (62443 CR 3.5): length, protocol, ids, function code */
	mbap_len = sys_get_be16(&hdr[4]);
	if (mbap_len < 2 || (mbap_len - 2) > ADU_DATA_MAX) {
		rc = -EBADMSG;
		goto fail;
	}

	modbus_raw_get_header(&rx, hdr);
	if (rx.proto_id != 0 || rx.trans_id != adu->trans_id ||
	    rx.unit_id != adu->unit_id ||
	    (rx.fc != adu->fc && rx.fc != (adu->fc | 0x80))) {
		rc = -EPROTO;
		goto fail;
	}

	rc = recv_exact(sock, rx.data, rx.length, IO_TIMEOUT_MS);
	if (rc) {
		goto fail;
	}

	return modbus_raw_submit_rx(idx, &rx);

fail:
	LOG_WRN("Modbus TCP transaction failed: %d", rc);
	sock_close();   /* any error: drop the connection, poll thread reconnects */
	return rc;
}

static int connect_locked(void)
{
	return (sock >= 0) ? 0 : sock_open();
}

static void store_readings(const uint16_t *regs)
{
	k_mutex_lock(&data_lock, K_FOREVER);
	for (int i = 0; i < MODBUS_NUM_SENSORS; i++) {
		latest.temp_x10[i] = (int16_t)regs[2 * i];
		latest.hum_x10[i] = (int16_t)regs[2 * i + 1];
	}
	latest.heartbeat = regs[MODBUS_IDX_HEARTBEAT];
	latest.status = regs[MODBUS_IDX_STATUS];
	latest.timestamp_ms = k_uptime_get();
	latest_valid = true;
	k_mutex_unlock(&data_lock);
}

#if !APP_WIFI_ON_DEMAND
static void poll_fn(void *p1, void *p2, void *p3)
{
	uint16_t regs[MODBUS_REG_COUNT];

	ARG_UNUSED(p1);
	ARG_UNUSED(p2);
	ARG_UNUSED(p3);

	while (1) {
		int64_t t0 = k_uptime_get();
		int rc;

		power_marker_set(PM_MARK_MODBUS, true);
		k_mutex_lock(&txn_lock, K_FOREVER);
		rc = connect_locked();
		if (rc == 0) {
			rc = modbus_read_holding_regs(iface, MODBUS_UNIT_ID, MODBUS_REG_START,
						      regs, MODBUS_REG_COUNT);
		}
		k_mutex_unlock(&txn_lock);
		power_marker_set(PM_MARK_MODBUS, false);

		if (rc == 0) {
			store_readings(regs);
		} else {
			LOG_WRN("Modbus poll failed: %d", rc);
			k_mutex_lock(&data_lock, K_FOREVER);
			latest_valid = false;
			k_mutex_unlock(&data_lock);
		}

		int64_t wait = MODBUS_POLL_INTERVAL_MS - (k_uptime_get() - t0);

		k_sleep(K_MSEC(wait > 0 ? wait : 0));
	}
}
#endif /* !APP_WIFI_ON_DEMAND */

int modbus_client_read_now(struct modbus_readings *out)
{
	uint16_t regs[MODBUS_REG_COUNT];
	int rc;

	power_marker_set(PM_MARK_MODBUS, true);
	k_mutex_lock(&txn_lock, K_FOREVER);
	rc = connect_locked();
	if (rc == 0) {
		rc = modbus_read_holding_regs(iface, MODBUS_UNIT_ID, MODBUS_REG_START,
					      regs, MODBUS_REG_COUNT);
	}
	/* Wi-Fi goes down right after this: don't keep a TCP socket around */
	sock_close();
	k_mutex_unlock(&txn_lock);
	power_marker_set(PM_MARK_MODBUS, false);

	if (rc) {
		LOG_WRN("Modbus read failed: %d", rc);
		return rc;
	}
	store_readings(regs);
	return modbus_client_get_readings(out);
}

int modbus_client_get_readings(struct modbus_readings *out)
{
	int rc = 0;

	k_mutex_lock(&data_lock, K_FOREVER);
	if (latest_valid) {
		*out = latest;
	} else {
		rc = -ENODATA;
	}
	k_mutex_unlock(&data_lock);
	return rc;
}

int modbus_client_set_coil(uint16_t coil, bool on)
{
	int rc;

	k_mutex_lock(&txn_lock, K_FOREVER);
	rc = connect_locked();
	if (rc == 0) {
		rc = modbus_write_coil(iface, MODBUS_UNIT_ID, coil, on);
	}
	k_mutex_unlock(&txn_lock);
	return rc;
}

/* One transaction with one reconnect: the SimPLC may have dropped an idle
 * TCP connection, so a failure is retried once on a fresh socket. */
enum txn_kind { TXN_READ_REGS, TXN_WRITE_REGS, TXN_READ_COILS };

static int txn(enum txn_kind kind, uint16_t start, uint16_t *regs, uint8_t *coils,
	       uint16_t count)
{
	int rc = -EIO;

	power_marker_set(PM_MARK_MODBUS, true);
	k_mutex_lock(&txn_lock, K_FOREVER);
	for (int attempt = 0; attempt < 2; attempt++) {
		rc = connect_locked();
		if (rc == 0) {
			switch (kind) {
			case TXN_READ_REGS:
				rc = modbus_read_holding_regs(iface, MODBUS_UNIT_ID, start, regs,
							      count);
				break;
			case TXN_WRITE_REGS:
				rc = modbus_write_holding_regs(iface, MODBUS_UNIT_ID, start, regs,
							       count);
				break;
			case TXN_READ_COILS:
				rc = modbus_read_coils(iface, MODBUS_UNIT_ID, start, coils, count);
				break;
			}
		}
		if (rc == 0) {
			break;
		}
		sock_close();
	}
	k_mutex_unlock(&txn_lock);
	power_marker_set(PM_MARK_MODBUS, false);
	if (rc) {
		LOG_WRN("Modbus %s %u x%u failed: %d",
			kind == TXN_WRITE_REGS ? "write" : "read", start, count, rc);
	}
	return rc;
}

int modbus_client_read_regs(uint16_t start, uint16_t *regs, uint16_t count)
{
	return txn(TXN_READ_REGS, start, regs, NULL, count);
}

int modbus_client_write_regs(uint16_t start, const uint16_t *regs, uint16_t count)
{
	return txn(TXN_WRITE_REGS, start, (uint16_t *)regs, NULL, count);
}

int modbus_client_read_coils(uint16_t start, uint16_t *mask, uint16_t count)
{
	uint8_t bits[2] = {0};

	if (count > 16) {
		return -EINVAL;
	}
	int rc = txn(TXN_READ_COILS, start, NULL, bits, count);

	if (rc == 0) {
		*mask = (uint16_t)bits[0] | ((uint16_t)bits[1] << 8);
	}
	return rc;
}

void modbus_client_close(void)
{
	k_mutex_lock(&txn_lock, K_FOREVER);
	sock_close();
	k_mutex_unlock(&txn_lock);
}

int modbus_client_initialize(void)
{
	const struct modbus_iface_param param = {
		.mode = MODBUS_MODE_RAW,
		.rx_timeout = MODBUS_RX_TIMEOUT_US,
		.rawcb = { .raw_tx_cb = raw_tx_cb, .user_data = NULL },
	};
	int rc;

	iface = modbus_iface_get_by_name("RAW_0");
	if (iface < 0) {
		LOG_ERR("Modbus RAW_0 interface not found: %d", iface);
		return iface;
	}

	rc = modbus_init_client(iface, param);
	if (rc) {
		LOG_ERR("modbus_init_client failed: %d", rc);
		return rc;
	}

#if APP_WIFI_ON_DEMAND
	/* Wi-Fi is only up during a sample: main reads with
	 * modbus_client_read_now() instead of a background poll. */
#else
	k_thread_create(&poll_thread_data, poll_stack, K_THREAD_STACK_SIZEOF(poll_stack),
			poll_fn, NULL, NULL, NULL, 6, 0, K_NO_WAIT);
	k_thread_name_set(&poll_thread_data, "modbus_poll");
#endif
	return 0;
}
```

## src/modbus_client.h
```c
#pragma once

#include <stdbool.h>
#include <stdint.h>
#include "modbus_settings.h"

struct modbus_readings {
	int16_t temp_x10[MODBUS_NUM_SENSORS];
	int16_t hum_x10[MODBUS_NUM_SENSORS];
	uint16_t heartbeat;
	uint16_t status;        /* bit i set = sensor i failed its last read */
	int64_t timestamp_ms;   /* k_uptime_get() when received */
};

int modbus_client_initialize(void);
int modbus_client_get_readings(struct modbus_readings *out);  /* -ENODATA if none yet */
/* One read right now (Wi-Fi must be up), socket closed afterwards. Used in
 * APP_WIFI_ON_DEMAND mode instead of the background poll thread. */
int modbus_client_read_now(struct modbus_readings *out);
int modbus_client_set_coil(uint16_t coil, bool on);

/* Generic transactions for the deep sleep wake cycle (wake_cycle.c). Wi-Fi
 * must be up. The TCP socket stays open between calls; on an error it is
 * closed and the call retried once. modbus_client_close() closes it before
 * Wi-Fi goes down. */
int modbus_client_read_regs(uint16_t start, uint16_t *regs, uint16_t count);
int modbus_client_write_regs(uint16_t start, const uint16_t *regs, uint16_t count);
/* Coils as a bitmask: bit i = coil start + i (count <= 16) */
int modbus_client_read_coils(uint16_t start, uint16_t *mask, uint16_t count);
void modbus_client_close(void);
```
